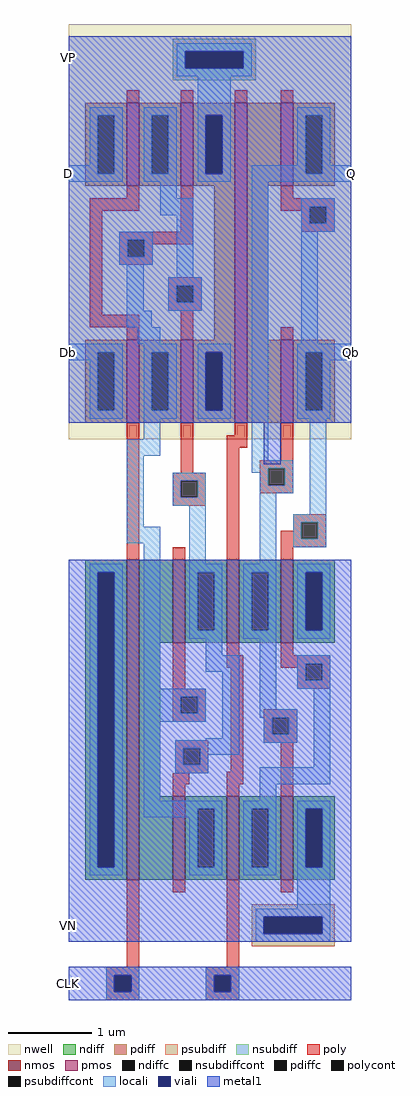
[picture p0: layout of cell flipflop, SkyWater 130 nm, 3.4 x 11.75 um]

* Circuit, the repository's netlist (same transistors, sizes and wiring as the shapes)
* NGSPICE file created from flipflop.ext - technology: sky130A

*.subckt flipflop D Db CLK Q Qb Vdd GND
X0 a_212_430# a_260_620# a_260_n1050# GND sky130_fd_pr__nfet_01v8 ad=0.25 pd=1.5 as=0.421 ps=2.93 w=1 l=0.15
X1 Vdd a_260_620# a_212_430# Vdd sky130_fd_pr__pfet_01v8 ad=0.488 pd=3.07 as=0.25 ps=1.5 w=1 l=0.15
X2 Qb CLK a_212_430# GND sky130_fd_pr__nfet_01v8 ad=0.25 pd=1.5 as=0.25 ps=1.5 w=1 l=0.15
X3 Qb Q a_520_50# Vdd sky130_fd_pr__pfet_01v8 ad=0.5 pd=3 as=0.421 ps=2.93 w=1 l=0.15
X4 a_260_n1050# CLK GND GND sky130_fd_pr__nfet_01v8 ad=0.421 pd=2.93 as=1.92 ps=8.7 w=3.85 l=0.15
X5 Q CLK a_260_620# GND sky130_fd_pr__nfet_01v8 ad=0.25 pd=1.5 as=0.25 ps=1.5 w=1 l=0.15
X6 a_520_50# CLK Vdd Vdd sky130_fd_pr__pfet_01v8 ad=0.421 pd=2.93 as=0.488 ps=3.07 w=3.85 l=0.15
X7 Q Qb a_520_50# Vdd sky130_fd_pr__pfet_01v8 ad=0.5 pd=3 as=0.421 ps=2.93 w=1 l=0.15
X8 a_260_620# a_212_430# a_260_n1050# GND sky130_fd_pr__nfet_01v8 ad=0.25 pd=1.5 as=0.421 ps=2.93 w=1 l=0.15
X9 GND Q Qb GND sky130_fd_pr__nfet_01v8 ad=0.5 pd=3 as=0.25 ps=1.5 w=1 l=0.15
X10 Vdd a_212_430# a_260_620# Vdd sky130_fd_pr__pfet_01v8 ad=0.488 pd=3.07 as=0.25 ps=1.5 w=1 l=0.15
X11 a_260_620# CLK D Vdd sky130_fd_pr__pfet_01v8 ad=0.25 pd=1.5 as=0.5 ps=3 w=1 l=0.15
X12 a_212_430# CLK Db Vdd sky130_fd_pr__pfet_01v8 ad=0.25 pd=1.5 as=0.5 ps=3 w=1 l=0.15
X13 GND Qb Q GND sky130_fd_pr__nfet_01v8 ad=0.5 pd=3 as=0.25 ps=1.5 w=1 l=0.15
*.ends
.end

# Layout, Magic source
magic
tech sky130A
<< nwell >>
rect 45 5 385 505
<< nmos >>
rect 115 -525 130 -140
rect 170 -240 185 -140
rect 235 -240 250 -140
rect 300 -240 315 -140
rect 170 -525 185 -425
rect 235 -525 250 -425
rect 300 -525 315 -425
<< pmos >>
rect 115 310 130 410
rect 180 310 195 410
rect 115 25 130 125
rect 180 25 195 125
rect 245 25 260 410
rect 300 310 315 410
rect 300 25 315 125
<< ndiff >>
rect 65 -155 115 -140
rect 65 -510 80 -155
rect 100 -510 115 -155
rect 65 -525 115 -510
rect 130 -240 170 -140
rect 185 -155 235 -140
rect 185 -225 200 -155
rect 220 -225 235 -155
rect 185 -240 235 -225
rect 250 -155 300 -140
rect 250 -225 265 -155
rect 285 -225 300 -155
rect 250 -240 300 -225
rect 315 -155 365 -140
rect 315 -225 330 -155
rect 350 -225 365 -155
rect 315 -240 365 -225
rect 130 -425 155 -240
rect 130 -525 170 -425
rect 185 -440 235 -425
rect 185 -510 200 -440
rect 220 -510 235 -440
rect 185 -525 235 -510
rect 250 -440 300 -425
rect 250 -510 265 -440
rect 285 -510 300 -440
rect 250 -525 300 -510
rect 315 -440 365 -425
rect 315 -510 330 -440
rect 350 -510 365 -440
rect 315 -525 365 -510
<< pdiff >>
rect 65 395 115 410
rect 65 325 80 395
rect 100 325 115 395
rect 65 310 115 325
rect 130 395 180 410
rect 130 325 145 395
rect 165 325 180 395
rect 130 310 180 325
rect 195 395 245 410
rect 195 325 210 395
rect 230 325 245 395
rect 195 310 245 325
rect 220 125 245 310
rect 65 110 115 125
rect 65 40 80 110
rect 100 40 115 110
rect 65 25 115 40
rect 130 110 180 125
rect 130 40 145 110
rect 165 40 180 110
rect 130 25 180 40
rect 195 110 245 125
rect 195 40 210 110
rect 230 40 245 110
rect 195 25 245 40
rect 260 310 300 410
rect 315 395 365 410
rect 315 325 330 395
rect 350 325 365 395
rect 315 310 365 325
rect 260 125 285 310
rect 260 25 300 125
rect 315 110 365 125
rect 315 40 330 110
rect 350 40 365 110
rect 315 25 365 40
<< ndiffc >>
rect 80 -510 100 -155
rect 200 -225 220 -155
rect 265 -225 285 -155
rect 330 -225 350 -155
rect 200 -510 220 -440
rect 265 -510 285 -440
rect 330 -510 350 -440
<< pdiffc >>
rect 80 325 100 395
rect 145 325 165 395
rect 210 325 230 395
rect 80 40 100 110
rect 145 40 165 110
rect 210 40 230 110
rect 330 325 350 395
rect 330 40 350 110
<< psubdiff >>
rect 265 -570 365 -555
rect 265 -590 280 -570
rect 350 -590 365 -570
rect 265 -605 365 -590
<< nsubdiff >>
rect 170 472 270 487
rect 170 452 185 472
rect 255 452 270 472
rect 170 437 270 452
<< psubdiffcont >>
rect 280 -590 350 -570
<< nsubdiffcont >>
rect 185 452 255 472
<< poly >>
rect 115 410 130 425
rect 180 410 195 425
rect 245 410 260 425
rect 300 410 315 425
rect 115 295 130 310
rect 70 280 130 295
rect 70 155 85 280
rect 180 255 195 310
rect 106 245 195 255
rect 106 225 116 245
rect 136 240 195 245
rect 136 225 146 240
rect 106 215 146 225
rect 165 190 205 200
rect 165 170 175 190
rect 195 170 205 190
rect 165 160 205 170
rect 70 140 130 155
rect 115 125 130 140
rect 180 125 195 160
rect 300 295 315 310
rect 300 285 365 295
rect 300 280 335 285
rect 325 265 335 280
rect 355 265 365 285
rect 325 255 365 265
rect 300 125 315 140
rect 115 -140 130 25
rect 180 -35 195 25
rect 245 10 260 25
rect 235 -5 260 10
rect 170 -45 210 -35
rect 170 -65 180 -45
rect 200 -65 210 -45
rect 170 -75 210 -65
rect 170 -140 185 -125
rect 235 -140 250 -5
rect 300 -20 315 25
rect 275 -30 315 -20
rect 275 -50 285 -30
rect 305 -50 315 -30
rect 275 -60 315 -50
rect 315 -95 355 -85
rect 315 -105 325 -95
rect 300 -115 325 -105
rect 345 -115 355 -95
rect 300 -125 355 -115
rect 300 -140 315 -125
rect 170 -295 185 -240
rect 235 -255 250 -240
rect 300 -255 315 -240
rect 235 -270 255 -255
rect 300 -265 360 -255
rect 300 -270 330 -265
rect 170 -305 210 -295
rect 170 -325 180 -305
rect 200 -325 210 -305
rect 170 -335 210 -325
rect 173 -367 213 -357
rect 173 -387 183 -367
rect 203 -387 213 -367
rect 173 -397 213 -387
rect 240 -395 255 -270
rect 320 -285 330 -270
rect 350 -285 360 -265
rect 320 -295 360 -285
rect 280 -330 320 -320
rect 280 -350 290 -330
rect 310 -350 320 -330
rect 280 -360 320 -350
rect 170 -410 190 -397
rect 235 -410 255 -395
rect 170 -425 185 -410
rect 235 -425 250 -410
rect 300 -425 315 -360
rect 115 -630 130 -525
rect 170 -540 185 -525
rect 235 -630 250 -525
rect 300 -540 315 -525
rect 90 -640 130 -630
rect 90 -660 100 -640
rect 120 -660 130 -640
rect 90 -670 130 -660
rect 210 -640 250 -630
rect 210 -660 220 -640
rect 240 -660 250 -640
rect 210 -670 250 -660
<< polycont >>
rect 116 225 136 245
rect 175 170 195 190
rect 335 265 355 285
rect 180 -65 200 -45
rect 285 -50 305 -30
rect 325 -115 345 -95
rect 180 -325 200 -305
rect 183 -387 203 -367
rect 330 -285 350 -265
rect 290 -350 310 -330
rect 100 -660 120 -640
rect 220 -660 240 -640
<< locali >>
rect 175 472 265 482
rect 175 452 185 472
rect 255 452 265 472
rect 175 442 265 452
rect 70 395 110 405
rect 70 335 80 395
rect 45 325 80 335
rect 100 325 110 395
rect 45 315 110 325
rect 135 395 175 405
rect 135 325 145 395
rect 165 325 175 395
rect 135 315 175 325
rect 200 395 240 442
rect 200 325 210 395
rect 230 325 240 395
rect 320 395 360 405
rect 320 335 330 395
rect 200 315 240 325
rect 265 325 330 335
rect 350 335 360 395
rect 350 325 385 335
rect 265 315 385 325
rect 155 295 175 315
rect 155 275 195 295
rect 106 245 146 255
rect 106 225 116 245
rect 136 225 146 245
rect 106 215 146 225
rect 115 160 135 215
rect 175 200 195 275
rect 165 190 205 200
rect 165 170 175 190
rect 195 170 205 190
rect 165 160 205 170
rect 115 140 145 160
rect 128 120 155 140
rect 45 110 110 120
rect 45 100 80 110
rect 70 40 80 100
rect 100 40 110 110
rect 70 30 110 40
rect 135 110 175 120
rect 135 40 145 110
rect 165 40 175 110
rect 135 30 175 40
rect 200 110 240 120
rect 200 40 210 110
rect 230 40 240 110
rect 200 30 240 40
rect 135 5 155 30
rect 115 -15 155 5
rect 115 -100 135 -15
rect 265 -20 285 315
rect 325 285 365 295
rect 325 265 335 285
rect 355 265 365 285
rect 325 255 365 265
rect 325 120 345 255
rect 320 110 385 120
rect 320 40 330 110
rect 350 100 385 110
rect 350 40 360 100
rect 320 30 360 40
rect 265 -30 315 -20
rect 265 -35 285 -30
rect 170 -45 210 -35
rect 170 -65 180 -45
rect 200 -65 210 -45
rect 170 -75 210 -65
rect 115 -120 155 -100
rect 70 -155 110 -145
rect 70 -510 80 -155
rect 100 -510 110 -155
rect 135 -295 155 -120
rect 190 -145 210 -75
rect 275 -50 285 -35
rect 305 -50 315 -30
rect 275 -60 315 -50
rect 275 -145 295 -60
rect 335 -85 355 30
rect 315 -95 355 -85
rect 315 -115 325 -95
rect 345 -115 355 -95
rect 315 -125 355 -115
rect 190 -155 230 -145
rect 190 -225 200 -155
rect 220 -225 230 -155
rect 190 -235 230 -225
rect 255 -155 295 -145
rect 255 -225 265 -155
rect 285 -225 295 -155
rect 255 -235 295 -225
rect 320 -155 360 -145
rect 320 -225 330 -155
rect 350 -225 360 -155
rect 320 -235 360 -225
rect 210 -255 230 -235
rect 210 -275 250 -255
rect 135 -305 210 -295
rect 135 -325 180 -305
rect 200 -325 210 -305
rect 135 -335 210 -325
rect 135 -430 155 -335
rect 230 -355 250 -275
rect 275 -320 295 -235
rect 320 -265 360 -255
rect 320 -285 330 -265
rect 350 -285 360 -265
rect 320 -295 360 -285
rect 275 -330 320 -320
rect 210 -357 250 -355
rect 173 -367 250 -357
rect 280 -350 290 -330
rect 310 -350 320 -330
rect 280 -360 320 -350
rect 173 -387 183 -367
rect 203 -375 250 -367
rect 203 -387 213 -375
rect 173 -397 213 -387
rect 340 -390 360 -295
rect 275 -410 360 -390
rect 275 -430 295 -410
rect 135 -440 230 -430
rect 135 -450 200 -440
rect 70 -520 110 -510
rect 190 -510 200 -450
rect 220 -510 230 -440
rect 190 -520 230 -510
rect 255 -440 295 -430
rect 255 -510 265 -440
rect 285 -510 295 -440
rect 255 -520 295 -510
rect 320 -440 360 -430
rect 320 -510 330 -440
rect 350 -510 360 -440
rect 320 -560 360 -510
rect 270 -570 360 -560
rect 270 -590 280 -570
rect 350 -590 360 -570
rect 270 -600 360 -590
rect 90 -640 130 -630
rect 90 -660 100 -640
rect 120 -660 130 -640
rect 90 -670 130 -660
rect 210 -640 250 -630
rect 210 -660 220 -640
rect 240 -660 250 -640
rect 210 -670 250 -660
<< viali >>
rect 185 452 255 472
rect 210 325 230 395
rect 210 40 230 110
rect 80 -510 100 -155
rect 330 -225 350 -155
rect 330 -510 350 -440
rect 280 -590 350 -570
rect 100 -660 120 -640
rect 220 -660 240 -640
<< metal1 >>
rect 45 472 385 490
rect 45 452 185 472
rect 255 452 385 472
rect 45 395 385 452
rect 45 325 210 395
rect 230 325 385 395
rect 45 110 385 325
rect 45 40 210 110
rect 230 40 385 110
rect 45 25 385 40
rect 280 -25 300 25
rect 45 -155 385 -140
rect 45 -510 80 -155
rect 100 -225 330 -155
rect 350 -225 385 -155
rect 100 -440 385 -225
rect 100 -510 330 -440
rect 350 -510 385 -440
rect 45 -570 385 -510
rect 45 -590 280 -570
rect 350 -590 385 -570
rect 45 -600 385 -590
rect 45 -640 385 -630
rect 45 -660 100 -640
rect 120 -660 220 -640
rect 240 -660 385 -640
rect 45 -670 385 -660
<< labels >>
rlabel metal1 45 465 45 465 7 VP
port 6 w
rlabel locali 45 325 45 325 7 D
port 1 w
rlabel locali 45 110 45 110 7 Db
port 2 w
rlabel metal1 45 -580 45 -580 7 VN
port 7 w
rlabel metal1 45 -650 45 -650 7 CLK
port 3 w
rlabel locali 385 325 385 325 3 Q
port 4 e
rlabel locali 385 110 385 110 3 Qb
port 5 e
<< end >>
